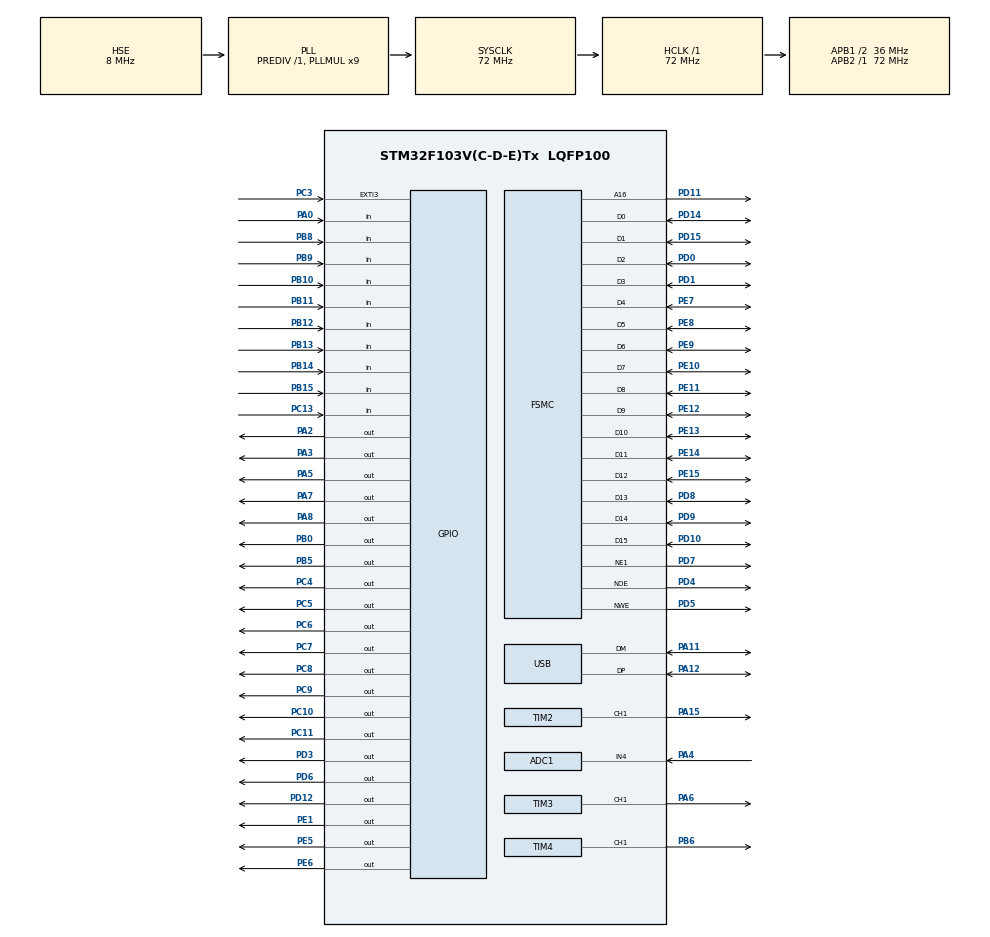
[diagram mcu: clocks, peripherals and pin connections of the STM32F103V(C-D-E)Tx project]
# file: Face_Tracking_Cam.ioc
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ADC1.Channel-0\#ChannelRegularConversion=ADC_CHANNEL_4
ADC1.ContinuousConvMode=ENABLE
ADC1.NbrOfConversionFlag=1
ADC1.Rank-0\#ChannelRegularConversion=1
ADC1.SamplingTime-0\#ChannelRegularConversion=ADC_SAMPLETIME_1CYCLE_5
ADC1.master=1
Mcu.Family=STM32F1
Mcu.Name=STM32F103V(C-D-E)Tx
Mcu.Package=LQFP100
NVIC.EXTI3_IRQn=true\:0\:0\:false\:false\:true\:true\:true\:true
NVIC.PriorityGroup=NVIC_PRIORITYGROUP_4
NVIC.USB_LP_CAN1_RX0_IRQn=true\:0\:0\:false\:false\:true\:false\:true\:true
OSC_IN.Mode=HSE-External-Oscillator
OSC_IN.Signal=RCC_OSC_IN
OSC_OUT.Mode=HSE-External-Oscillator
OSC_OUT.Signal=RCC_OSC_OUT
PA0-WKUP.Signal=GPIO_Input
PA11.Mode=Device
PA11.Signal=USB_DM
PA12.Mode=Device
PA12.Signal=USB_DP
PA13.Mode=Serial_Wire
PA13.Signal=SYS_JTMS-SWDIO
PA14.Mode=Serial_Wire
PA14.Signal=SYS_JTCK-SWCLK
PA15.Signal=S_TIM2_CH1_ETR
PA2.GPIO_Speed=GPIO_SPEED_FREQ_HIGH
PA2.Signal=GPIO_Output
PA3.GPIO_Speed=GPIO_SPEED_FREQ_HIGH
PA3.Signal=GPIO_Output
PA4.Signal=ADCx_IN4
PA5.Signal=GPIO_Output
PA6.Signal=S_TIM3_CH1
PA7.Signal=GPIO_Output
PA8.PinState=GPIO_PIN_RESET
PA8.Signal=GPIO_Output
PB0.PinState=GPIO_PIN_SET
PB0.Signal=GPIO_Output
PB10.Signal=GPIO_Input
PB11.Signal=GPIO_Input
PB12.Signal=GPIO_Input
PB13.Signal=GPIO_Input
PB14.Signal=GPIO_Input
PB15.Signal=GPIO_Input
PB3.Signal=S_TIM2_CH2
PB5.PinState=GPIO_PIN_SET
PB5.Signal=GPIO_Output
PB6.Signal=S_TIM4_CH1
PB8.Signal=GPIO_Input
PB9.Signal=GPIO_Input
PC10.Signal=GPIO_Output
PC11.Signal=GPIO_Output
PC13-TAMPER-RTC.Signal=GPIO_Input
PC14-OSC32_IN.Mode=LSE-External-Oscillator
PC14-OSC32_IN.Signal=RCC_OSC32_IN
PC15-OSC32_OUT.Mode=LSE-External-Oscillator
PC15-OSC32_OUT.Signal=RCC_OSC32_OUT
PC3.GPIO_ModeDefaultEXTI=GPIO_MODE_IT_FALLING
PC3.Signal=GPXTI3
PC4.GPIO_Speed=GPIO_SPEED_FREQ_HIGH
PC4.Signal=GPIO_Output
PC5.GPIO_Speed=GPIO_SPEED_FREQ_HIGH
PC5.Signal=GPIO_Output
PC6.GPIO_ModeDefaultOutputPP=GPIO_MODE_OUTPUT_OD
PC6.GPIO_PuPd=GPIO_NOPULL
PC6.GPIO_Speed=GPIO_SPEED_FREQ_HIGH
PC6.Signal=GPIO_Output
PC7.GPIO_ModeDefaultOutputPP=GPIO_MODE_OUTPUT_OD
PC7.GPIO_PuPd=GPIO_NOPULL
PC7.GPIO_Speed=GPIO_SPEED_FREQ_HIGH
PC7.Signal=GPIO_Output
PC8.Signal=GPIO_Output
PC9.Signal=GPIO_Output
PD0.Mode=16b-d1
PD0.Signal=FSMC_D2
PD1.Mode=16b-d1
PD1.Signal=FSMC_D3
PD10.Mode=16b-d1
PD10.Signal=FSMC_D15
PD11.Mode=A16_1
PD11.Signal=FSMC_A16
PD12.GPIO_Speed=GPIO_SPEED_FREQ_HIGH
PD12.PinState=GPIO_PIN_RESET
PD12.Signal=GPIO_Output
PD14.Mode=16b-d1
PD14.Signal=FSMC_D0
PD15.Mode=16b-d1
PD15.Signal=FSMC_D1
PD3.GPIO_Speed=GPIO_SPEED_FREQ_HIGH
PD3.Signal=GPIO_Output
PD4.Mode=Lcd1
PD4.Signal=FSMC_NOE
PD5.Mode=Lcd1
PD5.Signal=FSMC_NWE
PD6.GPIO_PuPd=GPIO_PULLUP
PD6.PinState=GPIO_PIN_RESET
PD6.Signal=GPIO_Output
PD7.Mode=NorPsramChipSelect1_1
PD7.Signal=FSMC_NE1
PD8.Mode=16b-d1
PD8.Signal=FSMC_D13
PD9.Mode=16b-d1
PD9.Signal=FSMC_D14
PE1.GPIO_Speed=GPIO_SPEED_FREQ_HIGH
PE1.PinState=GPIO_PIN_RESET
PE1.Signal=GPIO_Output
PE10.Mode=16b-d1
PE10.Signal=FSMC_D7
PE11.Mode=16b-d1
PE11.Signal=FSMC_D8
PE12.Mode=16b-d1
PE12.Signal=FSMC_D9
PE13.Mode=16b-d1
PE13.Signal=FSMC_D10
PE14.Mode=16b-d1
PE14.Signal=FSMC_D11
PE15.Mode=16b-d1
PE15.Signal=FSMC_D12
PE5.Signal=GPIO_Output
PE6.Signal=GPIO_Output
PE7.Mode=16b-d1
PE7.Signal=FSMC_D4
PE8.Mode=16b-d1
PE8.Signal=FSMC_D5
PE9.Mode=16b-d1
PE9.Signal=FSMC_D6
ProjectManager.HeapSize=0x200
ProjectManager.StackSize=0x400
ProjectManager.TargetToolchain=STM32CubeIDE
RCC.ADCPresc=RCC_ADCPCLK2_DIV6
RCC.AHBFreq_Value=72000000
RCC.APB1CLKDivider=RCC_HCLK_DIV2
RCC.APB1Freq_Value=36000000
RCC.APB1TimFreq_Value=72000000
RCC.APB2Freq_Value=72000000
RCC.APB2TimFreq_Value=72000000
RCC.HCLKFreq_Value=72000000
RCC.PLLMUL=RCC_PLL_MUL9
RCC.PLLSourceVirtual=RCC_PLLSOURCE_HSE
RCC.RCC_MCOSource=RCC_MCO1SOURCE_PLLCLK
RCC.SYSCLKFreq_VALUE=72000000
RCC.SYSCLKSource=RCC_SYSCLKSOURCE_PLLCLK
RCC.USBFreq_Value=48000000
RCC.USBPrescaler=RCC_USBCLKSOURCE_PLL_DIV1_5
SH.ADCx_IN4.0=ADC1_IN4,IN4
SH.S_TIM2_CH1_ETR.0=TIM2_CH1,PWM Generation1 CH1
SH.S_TIM2_CH2.0=TIM2_CH2
SH.S_TIM3_CH1.0=TIM3_CH1,PWM Generation1 CH1
SH.S_TIM4_CH1.0=TIM4_CH1,PWM Generation1 CH1
TIM2.Channel-PWM\ Generation1\ CH1=TIM_CHANNEL_1
TIM2.Period=44
TIM2.TIM_MasterOutputTrigger=TIM_TRGO_UPDATE
TIM2.TIM_MasterSlaveMode=TIM_MASTERSLAVEMODE_ENABLE
TIM3.Channel-PWM\ Generation1\ CH1=TIM_CHANNEL_1
TIM3.Period=31999
TIM3.Pulse-PWM\ Generation1\ CH1=800
TIM4.Channel-PWM\ Generation1\ CH1=TIM_CHANNEL_1
TIM4.Period=31999
TIM4.Pulse-PWM\ Generation1\ CH1=2400
USB_DEVICE.CLASS_NAME_FS=CDC
USB_DEVICE.VirtualMode=Cdc
USB_DEVICE.VirtualModeFS=Cdc_FS
VP_TIM2_VS_ClockSourceINT.Mode=Internal
VP_TIM3_VS_ClockSourceITR.Mode=TriggerSource_ITR1
VP_TIM3_VS_ControllerModeClock.Mode=Clock Mode
VP_TIM4_VS_ClockSourceITR.Mode=TriggerSource_ITR1
VP_TIM4_VS_ControllerModeClock.Mode=Clock Mode
VP_USB_DEVICE_VS_USB_DEVICE_CDC_FS.Mode=CDC_FS
board=custom

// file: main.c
/* USER CODE BEGIN Header */
/**
  ******************************************************************************
  * @file           : main.c
  * @brief          : Main program body
  ******************************************************************************
  * @attention
  *
  * <h2><center>&copy; Copyright (c) 2019 STMicroelectronics.
  * All rights reserved.</center></h2>
  *
  * This software component is licensed by ST under BSD 3-Clause license,
  * the "License"; You may not use this file except in compliance with the
  * License. You may obtain a copy of the License at:
  *                        opensource.org/licenses/BSD-3-Clause
  *
  ******************************************************************************
  */
/* USER CODE END Header */
#include "main.h"
#include "usb_device.h"

/* USER CODE BEGIN Includes */
#include "stdio.h"
#include "stdlib.h"
#include "stdbool.h"
#include "usbd_cdc_if.h"
#include "lcd.h"
#include "bsp_ov7725.h"
#include "bsp_sccb.h"

/* USER CODE END Includes */

/* USER CODE BEGIN PTD */
typedef struct {
	bool is_recording_mode;
	bool is_detect_obstacle;
	bool is_laptop_comm_success;
	uint8_t key_comb; // -1: not pressed, 0: left, 1: right, 2: both pressed
	uint16_t pan_ccr;
	uint16_t tilt_ccr;
} RobotState;

typedef struct {
    int x;
    int y;
    int width;
    int height;
    bool recent;
} FaceRectangle;

/* USER CODE END PTD */

/* USER CODE BEGIN PD */
#define DEBUG_MODE false

#define PACKET_START 0xAABB

#define MAX_FACE_COUNT 5

#define OV7725_IMG_COLS 240
#define OV7725_IMG_ROWS 320
#define PIXELS_PER_SEG 4800 // Assume each pixel takes 2 bauds (16 bits)
#define BYTES_PER_PIXEL 2

/* USER CODE END PD */

 ADC_HandleTypeDef hadc1;

TIM_HandleTypeDef htim2;
TIM_HandleTypeDef htim3;
TIM_HandleTypeDef htim4;

SRAM_HandleTypeDef hsram1;

/* USER CODE BEGIN PV */
RobotState state = {
	is_recording_mode: false,
	is_detect_obstacle: false,
	is_laptop_comm_success: false,
	key_comb: -1,
	pan_ccr: 2400,
	tilt_ccr: 800
};

FaceRectangle face_rect = {
	x: -1,
	y: -1,
	width: -1,
	height: -1,
	recent: false
};

uint8_t seg_buffer[PIXELS_PER_SEG * BYTES_PER_PIXEL + 3];
uint8_t rx_buffer[64];

/* USER CODE END PV */

void SystemClock_Config(void);
static void MX_GPIO_Init(void);
static void MX_FSMC_Init(void);
static void MX_ADC1_Init(void);
static void MX_TIM2_Init(void);
static void MX_TIM3_Init(void);
static void MX_TIM4_Init(void);
/* USER CODE BEGIN PFP */
void Robot_CheckObstacle(void);
void Robot_ReadKeyComb(void);
void Robot_ReadTxCamData(void);
void Robot_RxFaceData(void);;
void Robot_ControlPanTilt(void);
void Robot_ControlLED(void);
void Robot_ControlBuzzer(void);
void Robot_ControlWheels(void);
void Robot_RenderScreen(void);

volatile uint8_t Ov7725_vsync ;
/* USER CODE END PFP */

/* USER CODE BEGIN 0 */

/*
 * @brief	Detect obstacles using IR sensor. Turn on buzzer and LED if obstacles are detected
 */
void Robot_CheckObstacle(void)
{
	uint32_t value = HAL_ADC_GetValue(&hadc1);

	if (value > 1700) {
		state.is_detect_obstacle = true;
	}
	else {
		state.is_detect_obstacle = false;
	}
}

/*
 * @brief	Read key combination and change state accordingly
 */
void Robot_ReadKeyComb(void)
{
	static bool bothPressed = false;
	bool left = HAL_GPIO_ReadPin(GPIOA, GPIO_PIN_0) == GPIO_PIN_SET;
	bool right = HAL_GPIO_ReadPin(GPIOC, GPIO_PIN_13) == GPIO_PIN_SET;

	if (left && !right) {
	  if (bothPressed) {
		bothPressed = false;
		HAL_Delay(50);
	  }
	  else {
		  state.key_comb = 0;
	  }
	}
	else if (!left && right) {
	  if (bothPressed) {
		bothPressed = false;
		HAL_Delay(50);
	  }
	  else {
		state.key_comb = 1;
	  }
	}
	else if (left && right) {
		bothPressed = true;
		state.key_comb = 2;
	}
	else {
		state.key_comb = -1;
	}

	switch(state.key_comb) {
		case 0:
			state.is_recording_mode = true;
			break;
		case 1:
			state.is_recording_mode = false;
			break;
	}
}

/*
 * @brief	Read camera data to buffer and memory
 */
void Robot_ReadTxCamData(void) {
	if (DEBUG_MODE) return;
	static int seg_rows = OV7725_IMG_ROWS;
	static int seg_cols = PIXELS_PER_SEG / OV7725_IMG_ROWS;
	static int seg_count = OV7725_IMG_COLS * OV7725_IMG_ROWS / PIXELS_PER_SEG;

	int seg_index, i, j;
	uint16_t pixel_buffer;
	uint8_t CDC_TxResult;

	if (Ov7725_vsync == 2)
	{
		FIFO_PREPARE;
		LCD_Cam_Gram();
		state.is_laptop_comm_success = false;

		seg_buffer[0] = 0xAA;
		seg_buffer[1] = 0xBB;

		for (seg_index = 0; seg_index < seg_count; seg_index++) {
			seg_buffer[2] = seg_index;

			for (i = 0; i < seg_cols; i++)
			{
				for (j = 0; j < seg_rows; j++)
				{
					READ_FIFO_PIXEL(pixel_buffer);
					LCD_Write_Data(pixel_buffer);

					seg_buffer[(i * seg_rows + j) * BYTES_PER_PIXEL + 3] = (uint8_t)((pixel_buffer << 8) >> 8);
					seg_buffer[(i * seg_rows + j) * BYTES_PER_PIXEL + 1 + 3] = (uint8_t)(pixel_buffer >> 8);
				}
			}

			CDC_TxResult = CDC_Transmit_FS(seg_buffer, PIXELS_PER_SEG * BYTES_PER_PIXEL + 3);	// cdc tx takes time, expect operation to be async
			state.is_laptop_comm_success = state.is_laptop_comm_success || CDC_TxResult != USBD_FAIL;
			HAL_Delay(50);
		}

		Ov7725_vsync = 0;
	}
}

/*
 * @brief	Receive face rectangle data from laptop through USB protocol
 */

void Robot_RxFaceData(void)
{
	int values[4];
	memcpy(values, rx_buffer, sizeof(int) * 4);

	if (values[0] == 0 && values[1] == 0 && values[2] == 0 && values[3] == 0) {
		face_rect.recent = false;
		return;
	}

	face_rect.x = values[0];
	face_rect.y = values[1];
	face_rect.width = values[2];
	face_rect.height = values[3];
	face_rect.recent = true;
}

/*
 * @brief	Control pan-tilt arm to adjust camera orientation
 */
void Robot_ControlPanTilt(void)
{
	// SG90 Servo on pan-tilt arm: left 90deg @CCR=800, left 45deg @CCR=1600, mid 0deg @CCR=2400, right 45deg @CCR=3200, right 90deg @CCR=4000
	static uint32_t PAN_PULSE_MIN = 800;
	static uint32_t PAN_PULSE_MAX = 4000;
	static double PAN_SENSITIVITY = 0.05;
	static uint32_t TILT_PULSE_MIN = 800;
	static uint32_t TILT_PULSE_MAX = 2400;
	static double TILT_SENSITIVITY = 0.2;
	static uint32_t THRESHOLD_X = 20;
	static uint32_t THRESHOLD_Y = 20;

	static CAM_CENTER_X = 320 / 2;
	static CAM_CENTER_Y = 240 / 2;

	if (!face_rect.recent) return;

	uint32_t face_center_x = face_rect.x + face_rect.width / 2;
	uint32_t face_center_y = face_rect.y + face_rect.height / 2;
	uint32_t delta_x = abs(face_center_x - CAM_CENTER_X);
	if (delta_x <= THRESHOLD_X) delta_x = 0;
	uint32_t delta_y = abs(face_center_y - CAM_CENTER_Y);
	if (delta_y <= THRESHOLD_Y) delta_y = 0;
	uint32_t dir_x = (face_center_x - CAM_CENTER_X > 0) ? -1 : 1;
	uint32_t dir_y = (face_center_y - CAM_CENTER_Y > 0) ? -1 : 1;

//	state.pan_ccr = state.pan_ccr + dir_x * delta_x * PAN_SENSITIVITY;

	if (state.pan_ccr > PAN_PULSE_MAX) state.pan_ccr = PAN_PULSE_MAX;
	if (state.pan_ccr < PAN_PULSE_MIN) state.pan_ccr = PAN_PULSE_MIN;

	TIM4->CCR1 = state.pan_ccr;
	char test_str[20];
	sprintf(test_str, "%d", state.pan_ccr);
	LCD_DrawString(0, 0, test_str);
	sprintf(test_str, "%d", delta_x);
	LCD_DrawString(0, 16, test_str);

	switch(state.key_comb) {
		case 0:
			TIM3->CCR1 = 1600;
			TIM4->CCR1 = 800;
			break;
		case 1:
			TIM3->CCR1 = 1600;
			TIM4->CCR1 = 4000;
			break;
		case 2:
			TIM3->CCR1 = 800;
			TIM4->CCR1 = 2400;
			break;
	}
}

/*
 * @brief	Set LED to different colors according to robot state
 */
void Robot_ControlLED(void)
{
	if (state.is_detect_obstacle) {
		HAL_GPIO_WritePin(GPIOB, GPIO_PIN_5, GPIO_PIN_RESET);
		return;
	}
	else {
		HAL_GPIO_WritePin(GPIOB, GPIO_PIN_5, GPIO_PIN_SET);
	}

	if (state.is_recording_mode) {
		HAL_GPIO_WritePin(GPIOB, GPIO_PIN_0, GPIO_PIN_RESET);
		return;
	}
	else {
		HAL_GPIO_WritePin(GPIOB, GPIO_PIN_0, GPIO_PIN_SET);
	}
}

/*
 * @brief	Control buzzer according to robot state
 */
void Robot_ControlBuzzer(void)
{
	if (state.is_detect_obstacle) {
		HAL_GPIO_WritePin(GPIOA, GPIO_PIN_8, GPIO_PIN_SET);	// Buzzer
	}
	else {
		HAL_GPIO_WritePin(GPIOA, GPIO_PIN_8, GPIO_PIN_RESET);
	}
}

/*
 * @brief	Control DC motors and wheels of robot
 */
void Robot_ControlWheels(void)
{
	if (!face_rect.recent) return;

	if (face_rect.width < 100 && face_rect.height < 100) {
		HAL_GPIO_WritePin(GPIOC, GPIO_PIN_8, GPIO_PIN_SET); //left
		HAL_GPIO_WritePin(GPIOC, GPIO_PIN_9, GPIO_PIN_RESET);
		HAL_GPIO_WritePin(GPIOC, GPIO_PIN_10, GPIO_PIN_SET); //right
		HAL_GPIO_WritePin(GPIOC, GPIO_PIN_11, GPIO_PIN_RESET);

		//back
		HAL_GPIO_WritePin(GPIOA, GPIO_PIN_5, GPIO_PIN_SET); //left
		HAL_GPIO_WritePin(GPIOA, GPIO_PIN_7, GPIO_PIN_RESET);
		HAL_GPIO_WritePin(GPIOE, GPIO_PIN_5, GPIO_PIN_RESET); //right
		HAL_GPIO_WritePin(GPIOE, GPIO_PIN_6, GPIO_PIN_SET);
	}
	else if (face_rect.width > 150 && face_rect.height > 150) {
		HAL_GPIO_WritePin(GPIOC, GPIO_PIN_8, GPIO_PIN_RESET); //left
		HAL_GPIO_WritePin(GPIOC, GPIO_PIN_9, GPIO_PIN_SET);
		HAL_GPIO_WritePin(GPIOC, GPIO_PIN_10, GPIO_PIN_RESET); //right
		HAL_GPIO_WritePin(GPIOC, GPIO_PIN_11, GPIO_PIN_SET);

		//back
		HAL_GPIO_WritePin(GPIOA, GPIO_PIN_5, GPIO_PIN_RESET); //left
		HAL_GPIO_WritePin(GPIOA, GPIO_PIN_7, GPIO_PIN_SET);
		HAL_GPIO_WritePin(GPIOE, GPIO_PIN_5, GPIO_PIN_SET); //right
		HAL_GPIO_WritePin(GPIOE, GPIO_PIN_6, GPIO_PIN_RESET);
	}
	else {
		HAL_GPIO_WritePin(GPIOC, GPIO_PIN_8, GPIO_PIN_RESET); //left
		HAL_GPIO_WritePin(GPIOC, GPIO_PIN_9, GPIO_PIN_RESET);
		HAL_GPIO_WritePin(GPIOC, GPIO_PIN_10, GPIO_PIN_RESET); //right
		HAL_GPIO_WritePin(GPIOC, GPIO_PIN_11, GPIO_PIN_RESET);

		//back
		HAL_GPIO_WritePin(GPIOA, GPIO_PIN_5, GPIO_PIN_RESET); //left
		HAL_GPIO_WritePin(GPIOA, GPIO_PIN_7, GPIO_PIN_RESET);
		HAL_GPIO_WritePin(GPIOE, GPIO_PIN_5, GPIO_PIN_RESET); //right
		HAL_GPIO_WritePin(GPIOE, GPIO_PIN_6, GPIO_PIN_RESET);
	}
}

/*
 * @brief	Render UI on screen
 */
void Robot_RenderScreen(void)
{
	if (DEBUG_MODE) {
		LCD_DrawString(104, 16, state.is_detect_obstacle ? "<20cm" : ">20cm");
		LCD_DrawString(104, 32, "     ");
		LCD_DrawString(104, 48, "     ");
		LCD_DrawString(104, 64, state.is_laptop_comm_success ? "OK    " : "NOT_OK");

		return; // Dont show image on debug mode
	}
}

/* USER CODE END 0 */

int main(void)
{

  /* MCU Configuration--------------------------------------------------------*/

  /* Reset of all peripherals, Initializes the Flash interface and the Systick. */
  HAL_Init();

  /* Configure the system clock */
  SystemClock_Config();

  /* Initialize all configured peripherals */
  MX_GPIO_Init();
  MX_FSMC_Init();
  MX_ADC1_Init();
  MX_TIM2_Init();
  MX_TIM3_Init();
  MX_TIM4_Init();
  MX_USB_DEVICE_Init();
  /* USER CODE BEGIN 2 */
  HAL_ADCEx_Calibration_Start(&hadc1);
  HAL_ADC_Start(&hadc1);
  HAL_ADC_PollForConversion(&hadc1, 1000);

  HAL_TIM_PWM_Start(&htim2, TIM_CHANNEL_1);
  HAL_TIM_PWM_Start(&htim3, TIM_CHANNEL_1);
  HAL_TIM_PWM_Start(&htim4, TIM_CHANNEL_1);

  LCD_INIT();

  if (DEBUG_MODE) {
	LCD_DrawString(104, 0, "Status");
	LCD_DrawString(0, 16, "IR Sensor  : -");
	LCD_DrawString(0, 32, "Pan-Tilt 1 : -");
	LCD_DrawString(0, 48, "Pan-Tilt 2 : -");
	LCD_DrawString(0, 64, "USB Msg    : -");
  }

  /* USER CODE END 2 */

  /* Infinite loop */
  /* USER CODE BEGIN WHILE */

//  uint16_t pixel;
//  uint8_t high_byte, low_byte;
//  ;uint16_t cam_pixels[480*640*2];

  seg_buffer[0] = 0;

  while(Ov7725_Init() != SUCCESS);
  Ov7725_vsync = 0;

  // Set A8(Buzzer) and D6(USB device) and XX(In board LED) to high

  while (1)
  {
//	FIFO_PREPARE;
//	for(int col = 0; col < 480; col++)
//	{
//		for(int row = 0; row < 640; row++)
//		{
//			READ_FIFO_PIXEL(pixel);
//			high_byte = (uint8_t)(pixel >> 8);
//			low_byte = (uint8_t)(pixel & 0x00FF);
//
//			cam_pixels[(col * 640 + row) * 2] = high_byte;
//			cam_pixels[(col * 640 + row) * 2 + 1] = low_byte;
//		}
//	}

	Robot_CheckObstacle();
	Robot_ReadKeyComb();
	Robot_ReadTxCamData();
	Robot_RxFaceData();
	Robot_ControlPanTilt();
	Robot_ControlLED();
	Robot_ControlBuzzer();
	Robot_ControlWheels();
	Robot_RenderScreen();

	HAL_Delay(100);
    /* USER CODE END WHILE */

  }
}

void SystemClock_Config(void)
{
  RCC_OscInitTypeDef RCC_OscInitStruct = {0};
  RCC_ClkInitTypeDef RCC_ClkInitStruct = {0};
  RCC_PeriphCLKInitTypeDef PeriphClkInit = {0};

  /** Initializes the RCC Oscillators according to the specified parameters
  * in the RCC_OscInitTypeDef structure.
  */
  RCC_OscInitStruct.OscillatorType = RCC_OSCILLATORTYPE_HSE;
  RCC_OscInitStruct.HSEState = RCC_HSE_ON;
  RCC_OscInitStruct.HSEPredivValue = RCC_HSE_PREDIV_DIV1;
  RCC_OscInitStruct.HSIState = RCC_HSI_ON;
  RCC_OscInitStruct.PLL.PLLState = RCC_PLL_ON;
  RCC_OscInitStruct.PLL.PLLSource = RCC_PLLSOURCE_HSE;
  RCC_OscInitStruct.PLL.PLLMUL = RCC_PLL_MUL9;
  if (HAL_RCC_OscConfig(&RCC_OscInitStruct) != HAL_OK)
  {
    Error_Handler();
  }

  /** Initializes the CPU, AHB and APB buses clocks
  */
  RCC_ClkInitStruct.ClockType = RCC_CLOCKTYPE_HCLK|RCC_CLOCKTYPE_SYSCLK
                              |RCC_CLOCKTYPE_PCLK1|RCC_CLOCKTYPE_PCLK2;
  RCC_ClkInitStruct.SYSCLKSource = RCC_SYSCLKSOURCE_PLLCLK;
  RCC_ClkInitStruct.AHBCLKDivider = RCC_SYSCLK_DIV1;
  RCC_ClkInitStruct.APB1CLKDivider = RCC_HCLK_DIV2;
  RCC_ClkInitStruct.APB2CLKDivider = RCC_HCLK_DIV1;

  if (HAL_RCC_ClockConfig(&RCC_ClkInitStruct, FLASH_LATENCY_2) != HAL_OK)
  {
    Error_Handler();
  }
  PeriphClkInit.PeriphClockSelection = RCC_PERIPHCLK_ADC|RCC_PERIPHCLK_USB;
  PeriphClkInit.AdcClockSelection = RCC_ADCPCLK2_DIV6;
  PeriphClkInit.UsbClockSelection = RCC_USBCLKSOURCE_PLL_DIV1_5;
  if (HAL_RCCEx_PeriphCLKConfig(&PeriphClkInit) != HAL_OK)
  {
    Error_Handler();
  }
}

static void MX_ADC1_Init(void)
{

  ADC_ChannelConfTypeDef sConfig = {0};

  /** Common config
  */
  hadc1.Instance = ADC1;
  hadc1.Init.ScanConvMode = ADC_SCAN_DISABLE;
  hadc1.Init.ContinuousConvMode = ENABLE;
  hadc1.Init.DiscontinuousConvMode = DISABLE;
  hadc1.Init.ExternalTrigConv = ADC_SOFTWARE_START;
  hadc1.Init.DataAlign = ADC_DATAALIGN_RIGHT;
  hadc1.Init.NbrOfConversion = 1;
  if (HAL_ADC_Init(&hadc1) != HAL_OK)
  {
    Error_Handler();
  }

  /** Configure Regular Channel
  */
  sConfig.Channel = ADC_CHANNEL_4;
  sConfig.Rank = ADC_REGULAR_RANK_1;
  sConfig.SamplingTime = ADC_SAMPLETIME_1CYCLE_5;
  if (HAL_ADC_ConfigChannel(&hadc1, &sConfig) != HAL_OK)
  {
    Error_Handler();
  }

}

static void MX_TIM2_Init(void)
{

  TIM_ClockConfigTypeDef sClockSourceConfig = {0};
  TIM_MasterConfigTypeDef sMasterConfig = {0};
  TIM_OC_InitTypeDef sConfigOC = {0};

  htim2.Instance = TIM2;
  htim2.Init.Prescaler = 0;
  htim2.Init.CounterMode = TIM_COUNTERMODE_UP;
  htim2.Init.Period = 44;
  htim2.Init.ClockDivision = TIM_CLOCKDIVISION_DIV1;
  htim2.Init.AutoReloadPreload = TIM_AUTORELOAD_PRELOAD_DISABLE;
  if (HAL_TIM_Base_Init(&htim2) != HAL_OK)
  {
    Error_Handler();
  }
  sClockSourceConfig.ClockSource = TIM_CLOCKSOURCE_INTERNAL;
  if (HAL_TIM_ConfigClockSource(&htim2, &sClockSourceConfig) != HAL_OK)
  {
    Error_Handler();
  }
  if (HAL_TIM_PWM_Init(&htim2) != HAL_OK)
  {
    Error_Handler();
  }
  sMasterConfig.MasterOutputTrigger = TIM_TRGO_UPDATE;
  sMasterConfig.MasterSlaveMode = TIM_MASTERSLAVEMODE_ENABLE;
  if (HAL_TIMEx_MasterConfigSynchronization(&htim2, &sMasterConfig) != HAL_OK)
  {
    Error_Handler();
  }
  sConfigOC.OCMode = TIM_OCMODE_PWM1;
  sConfigOC.Pulse = 0;
  sConfigOC.OCPolarity = TIM_OCPOLARITY_HIGH;
  sConfigOC.OCFastMode = TIM_OCFAST_DISABLE;
  if (HAL_TIM_PWM_ConfigChannel(&htim2, &sConfigOC, TIM_CHANNEL_1) != HAL_OK)
  {
    Error_Handler();
  }
  HAL_TIM_MspPostInit(&htim2);

}

static void MX_TIM3_Init(void)
{

  TIM_SlaveConfigTypeDef sSlaveConfig = {0};
  TIM_MasterConfigTypeDef sMasterConfig = {0};
  TIM_OC_InitTypeDef sConfigOC = {0};

  htim3.Instance = TIM3;
  htim3.Init.Prescaler = 0;
  htim3.Init.CounterMode = TIM_COUNTERMODE_UP;
  htim3.Init.Period = 31999;
  htim3.Init.ClockDivision = TIM_CLOCKDIVISION_DIV1;
  htim3.Init.AutoReloadPreload = TIM_AUTORELOAD_PRELOAD_DISABLE;
  if (HAL_TIM_Base_Init(&htim3) != HAL_OK)
  {
    Error_Handler();
  }
  if (HAL_TIM_PWM_Init(&htim3) != HAL_OK)
  {
    Error_Handler();
  }
  sSlaveConfig.SlaveMode = TIM_SLAVEMODE_EXTERNAL1;
  sSlaveConfig.InputTrigger = TIM_TS_ITR1;
  if (HAL_TIM_SlaveConfigSynchro(&htim3, &sSlaveConfig) != HAL_OK)
  {
    Error_Handler();
  }
  sMasterConfig.MasterOutputTrigger = TIM_TRGO_RESET;
  sMasterConfig.MasterSlaveMode = TIM_MASTERSLAVEMODE_DISABLE;
  if (HAL_TIMEx_MasterConfigSynchronization(&htim3, &sMasterConfig) != HAL_OK)
  {
    Error_Handler();
  }
  sConfigOC.OCMode = TIM_OCMODE_PWM1;
  sConfigOC.Pulse = 800;
  sConfigOC.OCPolarity = TIM_OCPOLARITY_HIGH;
  sConfigOC.OCFastMode = TIM_OCFAST_DISABLE;
  if (HAL_TIM_PWM_ConfigChannel(&htim3, &sConfigOC, TIM_CHANNEL_1) != HAL_OK)
  {
    Error_Handler();
  }
  HAL_TIM_MspPostInit(&htim3);

}

static void MX_TIM4_Init(void)
{

  TIM_SlaveConfigTypeDef sSlaveConfig = {0};
  TIM_MasterConfigTypeDef sMasterConfig = {0};
  TIM_OC_InitTypeDef sConfigOC = {0};

  htim4.Instance = TIM4;
  htim4.Init.Prescaler = 0;
  htim4.Init.CounterMode = TIM_COUNTERMODE_UP;
  htim4.Init.Period = 31999;
  htim4.Init.ClockDivision = TIM_CLOCKDIVISION_DIV1;
  htim4.Init.AutoReloadPreload = TIM_AUTORELOAD_PRELOAD_DISABLE;
  if (HAL_TIM_Base_Init(&htim4) != HAL_OK)
  {
    Error_Handler();
  }
  if (HAL_TIM_PWM_Init(&htim4) != HAL_OK)
  {
    Error_Handler();
  }
  sSlaveConfig.SlaveMode = TIM_SLAVEMODE_EXTERNAL1;
  sSlaveConfig.InputTrigger = TIM_TS_ITR1;
  if (HAL_TIM_SlaveConfigSynchro(&htim4, &sSlaveConfig) != HAL_OK)
  {
    Error_Handler();
  }
  sMasterConfig.MasterOutputTrigger = TIM_TRGO_RESET;
  sMasterConfig.MasterSlaveMode = TIM_MASTERSLAVEMODE_DISABLE;
  if (HAL_TIMEx_MasterConfigSynchronization(&htim4, &sMasterConfig) != HAL_OK)
  {
    Error_Handler();
  }
  sConfigOC.OCMode = TIM_OCMODE_PWM1;
  sConfigOC.Pulse = 2400;
  sConfigOC.OCPolarity = TIM_OCPOLARITY_HIGH;
  sConfigOC.OCFastMode = TIM_OCFAST_DISABLE;
  if (HAL_TIM_PWM_ConfigChannel(&htim4, &sConfigOC, TIM_CHANNEL_1) != HAL_OK)
  {
    Error_Handler();
  }
  HAL_TIM_MspPostInit(&htim4);

}

static void MX_GPIO_Init(void)
{
  GPIO_InitTypeDef GPIO_InitStruct = {0};

  /* GPIO Ports Clock Enable */
  __HAL_RCC_GPIOE_CLK_ENABLE();
  __HAL_RCC_GPIOC_CLK_ENABLE();
  __HAL_RCC_GPIOA_CLK_ENABLE();
  __HAL_RCC_GPIOB_CLK_ENABLE();
  __HAL_RCC_GPIOD_CLK_ENABLE();

  /*Configure GPIO pin Output Level */
  HAL_GPIO_WritePin(GPIOE, GPIO_PIN_5|GPIO_PIN_6|GPIO_PIN_1, GPIO_PIN_RESET);

  /*Configure GPIO pin Output Level */
  HAL_GPIO_WritePin(GPIOA, GPIO_PIN_2|GPIO_PIN_3|GPIO_PIN_5|GPIO_PIN_7
                          |GPIO_PIN_8, GPIO_PIN_RESET);

  /*Configure GPIO pin Output Level */
  HAL_GPIO_WritePin(GPIOC, GPIO_PIN_4|GPIO_PIN_5|GPIO_PIN_6|GPIO_PIN_7
                          |GPIO_PIN_8|GPIO_PIN_9|GPIO_PIN_10|GPIO_PIN_11, GPIO_PIN_RESET);

  /*Configure GPIO pin Output Level */
  HAL_GPIO_WritePin(GPIOB, GPIO_PIN_0|GPIO_PIN_5, GPIO_PIN_SET);

  /*Configure GPIO pin Output Level */
  HAL_GPIO_WritePin(GPIOD, GPIO_PIN_12|GPIO_PIN_3|GPIO_PIN_6, GPIO_PIN_RESET);

  /*Configure GPIO pins : PE5 PE6 */
  GPIO_InitStruct.Pin = GPIO_PIN_5|GPIO_PIN_6;
  GPIO_InitStruct.Mode = GPIO_MODE_OUTPUT_PP;
  GPIO_InitStruct.Pull = GPIO_NOPULL;
  GPIO_InitStruct.Speed = GPIO_SPEED_FREQ_LOW;
  HAL_GPIO_Init(GPIOE, &GPIO_InitStruct);

  /*Configure GPIO pin : PC13 */
  GPIO_InitStruct.Pin = GPIO_PIN_13;
  GPIO_InitStruct.Mode = GPIO_MODE_INPUT;
  GPIO_InitStruct.Pull = GPIO_NOPULL;
  HAL_GPIO_Init(GPIOC, &GPIO_InitStruct);

  /*Configure GPIO pin : PC3 */
  GPIO_InitStruct.Pin = GPIO_PIN_3;
  GPIO_InitStruct.Mode = GPIO_MODE_IT_FALLING;
  GPIO_InitStruct.Pull = GPIO_NOPULL;
  HAL_GPIO_Init(GPIOC, &GPIO_InitStruct);

  /*Configure GPIO pin : PA0 */
  GPIO_InitStruct.Pin = GPIO_PIN_0;
  GPIO_InitStruct.Mode = GPIO_MODE_INPUT;
  GPIO_InitStruct.Pull = GPIO_NOPULL;
  HAL_GPIO_Init(GPIOA, &GPIO_InitStruct);

  /*Configure GPIO pins : PA2 PA3 */
  GPIO_InitStruct.Pin = GPIO_PIN_2|GPIO_PIN_3;
  GPIO_InitStruct.Mode = GPIO_MODE_OUTPUT_PP;
  GPIO_InitStruct.Pull = GPIO_NOPULL;
  GPIO_InitStruct.Speed = GPIO_SPEED_FREQ_HIGH;
  HAL_GPIO_Init(GPIOA, &GPIO_InitStruct);

  /*Configure GPIO pins : PA5 PA7 PA8 */
  GPIO_InitStruct.Pin = GPIO_PIN_5|GPIO_PIN_7|GPIO_PIN_8;
  GPIO_InitStruct.Mode = GPIO_MODE_OUTPUT_PP;
  GPIO_InitStruct.Pull = GPIO_NOPULL;
  GPIO_InitStruct.Speed = GPIO_SPEED_FREQ_LOW;
  HAL_GPIO_Init(GPIOA, &GPIO_InitStruct);

  /*Configure GPIO pins : PC4 PC5 */
  GPIO_InitStruct.Pin = GPIO_PIN_4|GPIO_PIN_5;
  GPIO_InitStruct.Mode = GPIO_MODE_OUTPUT_PP;
  GPIO_InitStruct.Pull = GPIO_NOPULL;
  GPIO_InitStruct.Speed = GPIO_SPEED_FREQ_HIGH;
  HAL_GPIO_Init(GPIOC, &GPIO_InitStruct);

  /*Configure GPIO pins : PB0 PB5 */
  GPIO_InitStruct.Pin = GPIO_PIN_0|GPIO_PIN_5;
  GPIO_InitStruct.Mode = GPIO_MODE_OUTPUT_PP;
  GPIO_InitStruct.Pull = GPIO_NOPULL;
  GPIO_InitStruct.Speed = GPIO_SPEED_FREQ_LOW;
  HAL_GPIO_Init(GPIOB, &GPIO_InitStruct);

  /*Configure GPIO pins : PB10 PB11 PB12 PB13
                           PB14 PB15 PB8 PB9 */
  GPIO_InitStruct.Pin = GPIO_PIN_10|GPIO_PIN_11|GPIO_PIN_12|GPIO_PIN_13
                          |GPIO_PIN_14|GPIO_PIN_15|GPIO_PIN_8|GPIO_PIN_9;
  GPIO_InitStruct.Mode = GPIO_MODE_INPUT;
  GPIO_InitStruct.Pull = GPIO_NOPULL;
  HAL_GPIO_Init(GPIOB, &GPIO_InitStruct);

  /*Configure GPIO pins : PD12 PD3 */
  GPIO_InitStruct.Pin = GPIO_PIN_12|GPIO_PIN_3;
  GPIO_InitStruct.Mode = GPIO_MODE_OUTPUT_PP;
  GPIO_InitStruct.Pull = GPIO_NOPULL;
  GPIO_InitStruct.Speed = GPIO_SPEED_FREQ_HIGH;
  HAL_GPIO_Init(GPIOD, &GPIO_InitStruct);

  /*Configure GPIO pins : PC6 PC7 */
  GPIO_InitStruct.Pin = GPIO_PIN_6|GPIO_PIN_7;
  GPIO_InitStruct.Mode = GPIO_MODE_OUTPUT_OD;
  GPIO_InitStruct.Pull = GPIO_NOPULL;
  GPIO_InitStruct.Speed = GPIO_SPEED_FREQ_HIGH;
  HAL_GPIO_Init(GPIOC, &GPIO_InitStruct);

  /*Configure GPIO pins : PC8 PC9 PC10 PC11 */
  GPIO_InitStruct.Pin = GPIO_PIN_8|GPIO_PIN_9|GPIO_PIN_10|GPIO_PIN_11;
  GPIO_InitStruct.Mode = GPIO_MODE_OUTPUT_PP;
  GPIO_InitStruct.Pull = GPIO_NOPULL;
  GPIO_InitStruct.Speed = GPIO_SPEED_FREQ_LOW;
  HAL_GPIO_Init(GPIOC, &GPIO_InitStruct);

  /*Configure GPIO pin : PD6 */
  GPIO_InitStruct.Pin = GPIO_PIN_6;
  GPIO_InitStruct.Mode = GPIO_MODE_OUTPUT_PP;
  GPIO_InitStruct.Pull = GPIO_PULLUP;
  GPIO_InitStruct.Speed = GPIO_SPEED_FREQ_LOW;
  HAL_GPIO_Init(GPIOD, &GPIO_InitStruct);

  /*Configure GPIO pin : PE1 */
  GPIO_InitStruct.Pin = GPIO_PIN_1;
  GPIO_InitStruct.Mode = GPIO_MODE_OUTPUT_PP;
  GPIO_InitStruct.Pull = GPIO_NOPULL;
  GPIO_InitStruct.Speed = GPIO_SPEED_FREQ_HIGH;
  HAL_GPIO_Init(GPIOE, &GPIO_InitStruct);

  /* EXTI interrupt init*/
  HAL_NVIC_SetPriority(EXTI3_IRQn, 0, 0);
  HAL_NVIC_EnableIRQ(EXTI3_IRQn);

}

/* FSMC initialization function */
static void MX_FSMC_Init(void)
{

  FSMC_NORSRAM_TimingTypeDef Timing = {0};

  /** Perform the SRAM1 memory initialization sequence
  */
  hsram1.Instance = FSMC_NORSRAM_DEVICE;
  hsram1.Extended = FSMC_NORSRAM_EXTENDED_DEVICE;
  /* hsram1.Init */
  hsram1.Init.NSBank = FSMC_NORSRAM_BANK1;
  hsram1.Init.DataAddressMux = FSMC_DATA_ADDRESS_MUX_DISABLE;
  hsram1.Init.MemoryType = FSMC_MEMORY_TYPE_SRAM;
  hsram1.Init.MemoryDataWidth = FSMC_NORSRAM_MEM_BUS_WIDTH_16;
  hsram1.Init.BurstAccessMode = FSMC_BURST_ACCESS_MODE_DISABLE;
  hsram1.Init.WaitSignalPolarity = FSMC_WAIT_SIGNAL_POLARITY_LOW;
  hsram1.Init.WrapMode = FSMC_WRAP_MODE_DISABLE;
  hsram1.Init.WaitSignalActive = FSMC_WAIT_TIMING_BEFORE_WS;
  hsram1.Init.WriteOperation = FSMC_WRITE_OPERATION_ENABLE;
  hsram1.Init.WaitSignal = FSMC_WAIT_SIGNAL_DISABLE;
  hsram1.Init.ExtendedMode = FSMC_EXTENDED_MODE_DISABLE;
  hsram1.Init.AsynchronousWait = FSMC_ASYNCHRONOUS_WAIT_DISABLE;
  hsram1.Init.WriteBurst = FSMC_WRITE_BURST_DISABLE;
  /* Timing */
  Timing.AddressSetupTime = 15;
  Timing.AddressHoldTime = 15;
  Timing.DataSetupTime = 255;
  Timing.BusTurnAroundDuration = 15;
  Timing.CLKDivision = 16;
  Timing.DataLatency = 17;
  Timing.AccessMode = FSMC_ACCESS_MODE_A;
  /* ExtTiming */

  if (HAL_SRAM_Init(&hsram1, &Timing, NULL) != HAL_OK)
  {
    Error_Handler( );
  }

  /** Disconnect NADV
  */

  __HAL_AFIO_FSMCNADV_DISCONNECTED();

}

void Error_Handler(void)
{
}
